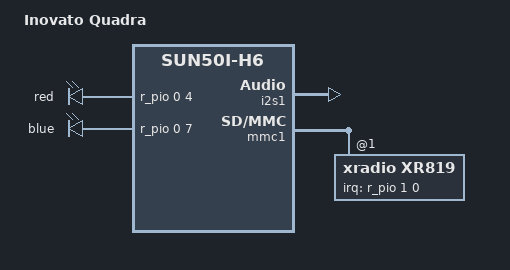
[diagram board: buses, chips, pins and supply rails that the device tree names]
// SPDX-License-Identifier: (GPL-2.0+ OR MIT)
// Copyright (c) 2023 Gunjan Gupta <gunjan@armbian.com>

/dts-v1/;

#include "sun50i-h6-tanix.dtsi"

/ {
	model = "Inovato Quadra";
	compatible = "oranth,inovato-quadra", "allwinner,sun50i-h6";

	aliases {
		ethernet1 = &xr819;
	};

	leds {
		compatible = "gpio-leds";

		led-0 {
			label = "red";
			gpios = <&r_pio 0 4 GPIO_ACTIVE_HIGH>; /* PL4 */
		};

		led-1 {
			label = "blue";
			gpios = <&r_pio 0 7 GPIO_ACTIVE_HIGH>; /* PL7 */
			default-state = "on";
		};
	};
};

&i2s1 {
	status = "okay";
};

&mmc1 {
	pinctrl-names = "default";
	pinctrl-0 = <&mmc1_pins>;

	xr819: sdio_wifi@1 {
		compatible = "xradio,xr819";
		interrupt-names = "host-wake";
		interrupt-parent = <&r_pio>;
		interrupts = <1 0 IRQ_TYPE_EDGE_RISING>;
		local-mac-address = [dc 44 6d c0 ff ee];
		reg = <1>;
	};
};

&sound_hdmi {
	status = "okay";
};

&wifi_pwrseq {
	post-power-on-delay-ms = <0xc8>;
};
